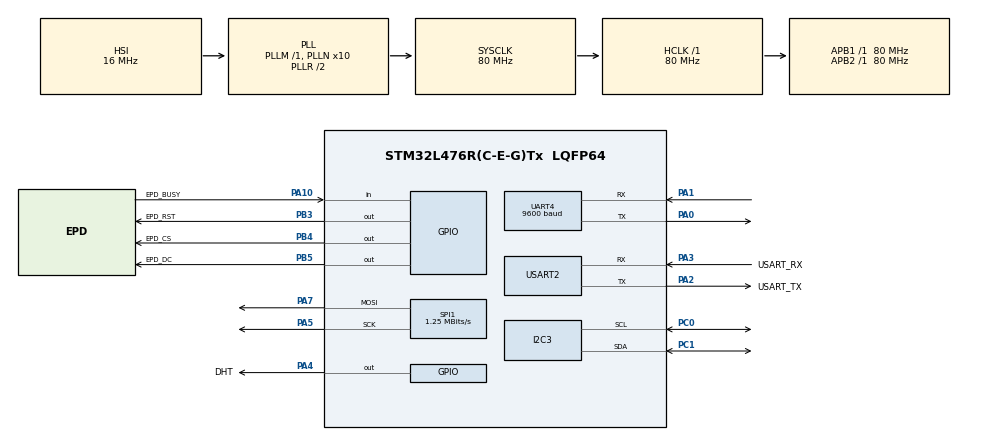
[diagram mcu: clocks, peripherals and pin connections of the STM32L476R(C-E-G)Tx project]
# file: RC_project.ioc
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Dma.Request0=UART4_RX
Dma.UART4_RX.0.Direction=DMA_PERIPH_TO_MEMORY
Dma.UART4_RX.0.Instance=DMA2_Channel5
Dma.UART4_RX.0.MemDataAlignment=DMA_MDATAALIGN_BYTE
Dma.UART4_RX.0.MemInc=DMA_MINC_ENABLE
Dma.UART4_RX.0.Mode=DMA_NORMAL
Dma.UART4_RX.0.PeriphDataAlignment=DMA_PDATAALIGN_BYTE
Dma.UART4_RX.0.PeriphInc=DMA_PINC_DISABLE
Dma.UART4_RX.0.Priority=DMA_PRIORITY_LOW
I2C3.Timing=0x10D19CE4
Mcu.Family=STM32L4
Mcu.Name=STM32L476R(C-E-G)Tx
Mcu.Package=LQFP64
NVIC.DMA2_Channel5_IRQn=true\:0\:0\:false\:false\:true\:false\:true\:true
NVIC.PriorityGroup=NVIC_PRIORITYGROUP_4
NVIC.UART4_IRQn=true\:0\:0\:false\:false\:true\:true\:true\:true
PA0.Mode=Asynchronous
PA0.Signal=UART4_TX
PA1.Mode=Asynchronous
PA1.Signal=UART4_RX
PA10.GPIO_Label=EPD_BUSY
PA10.Signal=GPIO_Input
PA2.GPIO_Label=USART_TX
PA2.GPIO_Mode=GPIO_MODE_AF_PP
PA2.GPIO_PuPd=GPIO_NOPULL
PA2.GPIO_Speed=GPIO_SPEED_FREQ_VERY_HIGH
PA2.Mode=Asynchronous
PA2.Signal=USART2_TX
PA3.GPIO_Label=USART_RX
PA3.GPIO_Mode=GPIO_MODE_AF_PP
PA3.GPIO_PuPd=GPIO_NOPULL
PA3.GPIO_Speed=GPIO_SPEED_FREQ_VERY_HIGH
PA3.Mode=Asynchronous
PA3.Signal=USART2_RX
PA4.GPIO_Label=DHT
PA4.Signal=GPIO_Output
PA5.GPIO_Speed=GPIO_SPEED_FREQ_HIGH
PA5.Mode=TX_Only_Simplex_Unidirect_Master
PA5.Signal=SPI1_SCK
PA7.GPIO_Speed=GPIO_SPEED_FREQ_HIGH
PA7.Mode=TX_Only_Simplex_Unidirect_Master
PA7.Signal=SPI1_MOSI
PB3\ (JTDO-TRACESWO).GPIO_Label=EPD_RST
PB3\ (JTDO-TRACESWO).GPIO_PuPd=GPIO_PULLUP
PB3\ (JTDO-TRACESWO).Signal=GPIO_Output
PB4\ (NJTRST).GPIO_Label=EPD_CS
PB4\ (NJTRST).GPIO_PuPd=GPIO_PULLUP
PB4\ (NJTRST).GPIO_Speed=GPIO_SPEED_FREQ_HIGH
PB4\ (NJTRST).PinState=GPIO_PIN_SET
PB4\ (NJTRST).Signal=GPIO_Output
PB5.GPIO_Label=EPD_DC
PB5.GPIO_PuPd=GPIO_PULLUP
PB5.GPIO_Speed=GPIO_SPEED_FREQ_HIGH
PB5.Signal=GPIO_Output
PC0.Mode=I2C
PC0.Signal=I2C3_SCL
PC1.Mode=I2C
PC1.Signal=I2C3_SDA
ProjectManager.HeapSize=0x200
ProjectManager.StackSize=0x400
ProjectManager.TargetToolchain=STM32CubeIDE
RCC.ADCFreq_Value=64000000
RCC.AHBFreq_Value=80000000
RCC.APB1Freq_Value=80000000
RCC.APB1TimFreq_Value=80000000
RCC.APB2Freq_Value=80000000
RCC.APB2TimFreq_Value=80000000
RCC.CortexFreq_Value=80000000
RCC.HCLKFreq_Value=80000000
RCC.HSE_VALUE=8000000
RCC.HSI_VALUE=16000000
RCC.LSE_VALUE=32768
RCC.MSI_VALUE=4000000
RCC.PLLN=10
RCC.PLLSourceVirtual=RCC_PLLSOURCE_HSI
RCC.PREFETCH_ENABLE=1
RCC.SYSCLKFreq_VALUE=80000000
RCC.SYSCLKSource=RCC_SYSCLKSOURCE_PLLCLK
RCC.USBFreq_Value=64000000
RCC.VCOOutputFreq_Value=160000000
SPI1.BaudRatePrescaler=SPI_BAUDRATEPRESCALER_64
SPI1.CalculateBaudRate=1.25 MBits/s
SPI1.DataSize=SPI_DATASIZE_8BIT
SPI1.Direction=SPI_DIRECTION_2LINES
SPI1.Mode=SPI_MODE_MASTER
SPI1.VirtualType=VM_MASTER
UART4.BaudRate=9600
USART2.VirtualMode-Asynchronous=VM_ASYNC
VP_TIM6_VS_ClockSourceINT.Mode=Enable_Timer
board=NUCLEO-L476RG

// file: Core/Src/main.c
/* USER CODE BEGIN Header */
/**
  ******************************************************************************
  * @file           : main.c
  * @brief          : Main program body
  ******************************************************************************
  * @attention
  *
  * Copyright (c) 2025 STMicroelectronics.
  * All rights reserved.
  *
  * This software is licensed under terms that can be found in the LICENSE file
  * in the root directory of this software component.
  * If no LICENSE file comes with this software, it is provided AS-IS.
  *
  ******************************************************************************
  */
/* USER CODE END Header */
#include "main.h"
#include "i2c.h"
#include "spi.h"
#include "tim.h"
#include "dma.h"
#include "usart.h"
#include "gpio.h"

/* USER CODE BEGIN PM */
int _write(int file, char* ptr, int len){
	HAL_UART_Transmit(&huart4, ptr, len, 50);
	return len;
}
/* USER CODE END PM */

void SystemClock_Config(void);

/* USER CODE BEGIN 0 */
#define RX_BUFFER_SIZE 64

uint8_t rxData;                    // dla menu (1 bajt)
char txt[RX_BUFFER_SIZE];          // dla demo4
uint16_t txtIndex = 0;
uint8_t mode = 0;                  // 0 = menu, 1 = odbiór tekstu DMA
uint8_t waiting_for_first_char = 0;

volatile uint8_t flag_demo_V22 = 0;
volatile uint8_t flag_demo_V11 = 0;
volatile uint8_t flag_demo4 = 0;
/* USER CODE END 0 */

int main(void)
{

  /* MCU Configuration--------------------------------------------------------*/

  /* Reset of all peripherals, Initializes the Flash interface and the Systick. */
  HAL_Init();

  /* Configure the system clock */
  SystemClock_Config();

  /* Initialize all configured peripherals */
  MX_GPIO_Init();
  MX_SPI1_Init();
  MX_I2C3_Init();
  MX_UART4_Init();
  MX_TIM6_Init();
  MX_USART2_UART_Init();

  HAL_UART_Receive_IT(&huart4, &rxData, 1);
  /* USER CODE BEGIN 2 */
  //SGP40_Init(&hi2c3);
  printf("Menu.\r\n");
  HAL_Delay(1000);
  printf("Wybierz opcje: 0-obraz, 1-ksztalty, 2-tekst do demo\r\n");

  /* USER CODE END 2 */

  /* Infinite loop */
  /* USER CODE BEGIN WHILE */
  while (1)
  {
      if(flag_demo_V22)
      {
          demo_V22();
          flag_demo_V22 = 0;
      }

      if(flag_demo_V11)
      {
          demo_V11();
          flag_demo_V11 = 0;
      }

      if(flag_demo4)
      {
    	  printf("Odebrano tekst: %s\r\n", txt);
          demo4(txt);
          flag_demo4 = 0;
      }

  }
  /* USER CODE END 3 */
}

void SystemClock_Config(void)
{
  RCC_OscInitTypeDef RCC_OscInitStruct = {0};
  RCC_ClkInitTypeDef RCC_ClkInitStruct = {0};

  /** Configure the main internal regulator output voltage
  */
  if (HAL_PWREx_ControlVoltageScaling(PWR_REGULATOR_VOLTAGE_SCALE1) != HAL_OK)
  {
    Error_Handler();
  }

  /** Initializes the RCC Oscillators according to the specified parameters
  * in the RCC_OscInitTypeDef structure.
  */
  RCC_OscInitStruct.OscillatorType = RCC_OSCILLATORTYPE_HSI;
  RCC_OscInitStruct.HSIState = RCC_HSI_ON;
  RCC_OscInitStruct.HSICalibrationValue = RCC_HSICALIBRATION_DEFAULT;
  RCC_OscInitStruct.PLL.PLLState = RCC_PLL_ON;
  RCC_OscInitStruct.PLL.PLLSource = RCC_PLLSOURCE_HSI;
  RCC_OscInitStruct.PLL.PLLM = 1;
  RCC_OscInitStruct.PLL.PLLN = 10;
  RCC_OscInitStruct.PLL.PLLP = RCC_PLLP_DIV7;
  RCC_OscInitStruct.PLL.PLLQ = RCC_PLLQ_DIV2;
  RCC_OscInitStruct.PLL.PLLR = RCC_PLLR_DIV2;
  if (HAL_RCC_OscConfig(&RCC_OscInitStruct) != HAL_OK)
  {
    Error_Handler();
  }

  /** Initializes the CPU, AHB and APB buses clocks
  */
  RCC_ClkInitStruct.ClockType = RCC_CLOCKTYPE_HCLK|RCC_CLOCKTYPE_SYSCLK
                              |RCC_CLOCKTYPE_PCLK1|RCC_CLOCKTYPE_PCLK2;
  RCC_ClkInitStruct.SYSCLKSource = RCC_SYSCLKSOURCE_PLLCLK;
  RCC_ClkInitStruct.AHBCLKDivider = RCC_SYSCLK_DIV1;
  RCC_ClkInitStruct.APB1CLKDivider = RCC_HCLK_DIV1;
  RCC_ClkInitStruct.APB2CLKDivider = RCC_HCLK_DIV1;

  if (HAL_RCC_ClockConfig(&RCC_ClkInitStruct, FLASH_LATENCY_4) != HAL_OK)
  {
    Error_Handler();
  }
}

/* USER CODE BEGIN 4 */

void HAL_UART_RxCpltCallback(UART_HandleTypeDef *huart)
{
    if(huart == &huart4)
    {
    	printf("UART4: Odebrano: %c\r\n", rxData);
        if(mode == 0)
        {
            switch(rxData)
            {
                case '0':
                    flag_demo_V22 = 1;
                    break;
                case '1':
                    flag_demo_V11 = 1;
                    break;
                case '2':
                    mode = 1;
                    txtIndex = 0;
                    waiting_for_first_char = 1; // pierwszy znak ignorujemy
                    printf("Opcja 2 - wprowadź tekst:\r\n");
                    break;
                	printf("Tryb tekstu - wpisz tekst i zakończ (Enter)\r\n");
					mode = 1;
                default:
                    printf("Nieznana opcja\r\n");
                    break;
            }
        }
        else if(mode == 1)
        {
            if(waiting_for_first_char)
            {
                waiting_for_first_char = 0; // pierwszy znak pomijamy
            }
            else
            {
                if(rxData == '\r' || rxData == '\n') // koniec tekstu
                {
                    txt[txtIndex] = '\0';
                    flag_demo4 = 1;
                    mode = 0;
                }
                else
                {
                    if(txtIndex < sizeof(txt) - 1)
                        txt[txtIndex++] = rxData;
                }
            }
        }

        HAL_UART_Receive_IT(&huart4, &rxData, 1);
    }
}

/* USER CODE END 4 */

void Error_Handler(void)
{
  /* USER CODE BEGIN Error_Handler_Debug */
  /* User can add his own implementation to report the HAL error return state */
	printf("Błąd inicjalizacji zegara/systemu!\r\n");
  __disable_irq();
  while (1)
  {
  }
  /* USER CODE END Error_Handler_Debug */
}
